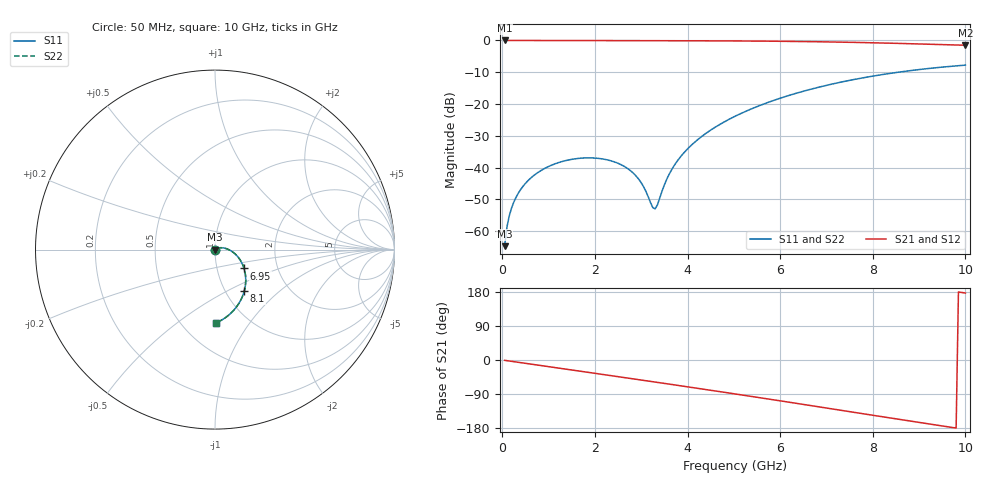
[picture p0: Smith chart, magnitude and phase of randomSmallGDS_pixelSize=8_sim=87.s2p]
! freq	dB(S11)	phase(S11)	dB(S12)	phase(S12)
!  dB(S21)	phase(S21)	dB(S22)	phase(S22)
!S-par simulation data
#  GHz  S  DB  R 50
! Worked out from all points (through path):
!   200 points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, 50 MHz to 10 GHz, reference 50 ohm
!   highest |S21| = 0.00 dB at 50 MHz (marker M1); lowest = -1.5 dB at 10 GHz (marker M2)
!   group delay of S21, straight-line fit = 51.1 ps
!   lowest |S11| = -64.8 dB at 50 MHz (marker M3), VSWR 1.00, Z = 50 - j0.0578 ohm
!   |S11| at or under -10 dB: start of sweep to 8.549 GHz
!   |S22| runs from -64.8 to -7.8 dB; largest |S21 - S12| = 0
!   S11 on the Smith chart (normalised r, x): 50 MHz: 1.00, -0.00; 6.95 GHz: 1.35, -0.29; 8.1 GHz: 1.22, -0.61; 10 GHz: 0.72, -0.71
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0.05  -64.75 -88.0  -0.00 -0.9  -0.00 -0.9  -64.75 -88.0
0.1  -58.75 -90.5  -0.00 -1.8  -0.00 -1.8  -58.75 -90.5
0.2  -52.76 -93.1  -0.00 -3.5  -0.00 -3.5  -52.76 -93.1
0.35  -47.97 -96.3  -0.01 -6.2  -0.01 -6.2  -47.97 -96.3
0.5  -44.99 -99.3  -0.01 -8.8  -0.01 -8.8  -44.99 -99.3
1.05  -39.34 -110.1  -0.02 -18.5  -0.02 -18.5  -39.34 -110.1
1.75  -37.00 -124.0  -0.04 -30.7  -0.04 -30.7  -37.00 -124.1
2.3  -37.70 -136.0  -0.05 -40.4  -0.05 -40.4  -37.70 -136.1
2.7  -40.25 -147.1  -0.05 -47.5  -0.05 -47.5  -40.25 -147.1
3  -44.80 -162.0  -0.06 -52.8  -0.06 -52.8  -44.79 -162.2
3.25  -52.60 144.1  -0.07 -57.3  -0.07 -57.3  -52.54 143.9
3.3  -53.01 117.7  -0.07 -58.1  -0.07 -58.1  -52.93 117.8
3.4  -49.60 74.3  -0.07 -59.9  -0.07 -59.9  -49.56 74.5
3.65  -40.87 41.8  -0.08 -64.4  -0.08 -64.4  -40.86 42.0
3.95  -34.91 29.4  -0.09 -69.8  -0.09 -69.8  -34.91 29.5
4.4  -29.22 17.7  -0.11 -78.0  -0.11 -78.0  -29.22 17.8
5.05  -23.70 4.0  -0.15 -90.0  -0.15 -90.0  -23.70 4.1
6.7  -15.21 -28.1  -0.38 -121.0  -0.38 -121.0  -15.21 -28.1
6.95  -14.30 -32.9  -0.44 -125.8  -0.44 -125.8  -14.30 -32.9
8.1  -10.98 -54.7  -0.76 -147.7  -0.76 -147.7  -10.98 -54.7
8.35  -10.42 -59.4  -0.85 -152.4  -0.85 -152.4  -10.42 -59.4
10  -7.77 -89.3  -1.51 176.7  -1.51 176.7  -7.77 -89.3
